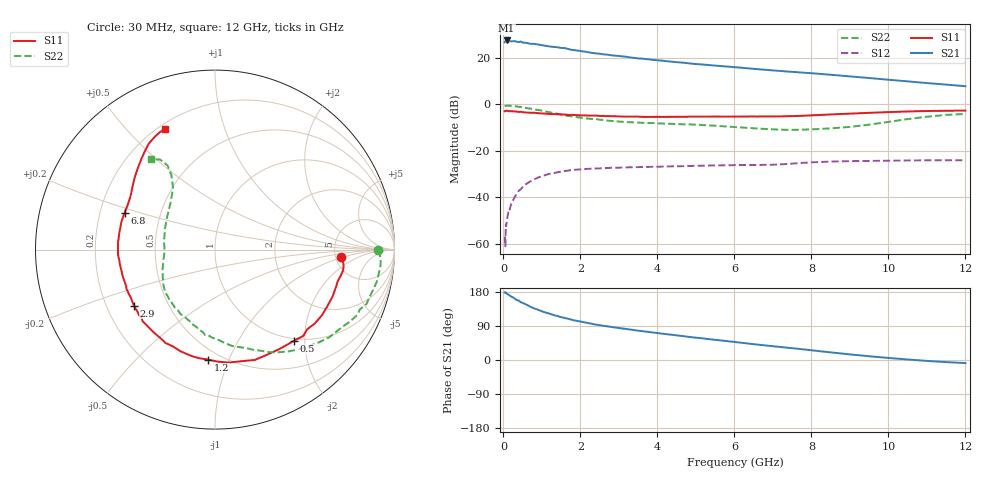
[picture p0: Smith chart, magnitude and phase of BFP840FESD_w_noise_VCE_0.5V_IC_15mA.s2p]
! Infineon Technologies  Discrete & RF Semiconductors
! BFP840FESD
! VCE =  0.5 V,  IC =  15 mA
! Common Emitter S-Parameters:  May 2012
# GHz  S  MA  R  50
!  f  S11  S21  S12  S22
! GHz  MAG  ANG  MAG  ANG  MAG  ANG  MAG  ANG
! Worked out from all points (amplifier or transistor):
!   103 points, 30 MHz to 12 GHz, reference 50 ohm
!   highest |S21| = 27.3 dB at 80 MHz (marker M1)
!   |S21| within 3 dB of that: start of sweep to 1.432 GHz
!   unconditionally stable (mu >= 1): start of sweep to 56.05 MHz; 5.564 GHz to end of sweep
!   at 400 MHz: K = 0.15, MSG = 31.9 dB, |S12| = -37.1 dB
!   at 3.7 GHz: K = 0.73, MSG = 23.1 dB, |S12| = -27.0 dB
!   at 12 GHz: K = 1.31, MAG = 12.6 dB, |S12| = -24.1 dB
!   lowest NFmin = 0.78 dB at 450 MHz
!   S11 on the Smith chart (normalised r, x): 30 MHz: 5.59, -0.90; 500 MHz: 0.95, -1.77; 1.2 GHz: 0.43, -0.85; 2.9 GHz: 0.32, -0.28; 6.8 GHz: 0.31, +0.18; 12 GHz: 0.23, +0.64
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0.03  0.7034 -3.3  21.25 178.0  0.0013 70.8  0.9086 -0.2
0.05  0.7146 -5.2  22.42 178.8  0.0009 101.7  0.9163 -1.5
0.08  0.7226 -8.5  23.23 175.9  0.0028 82.8  0.9245 -3.5
0.13  0.7064 -14.3  22.08 172.3  0.0051 82.8  0.9247 -6.9
0.3  0.6996 -31.2  22.46 161.5  0.0104 74.7  0.9012 -16.9
0.35  0.6921 -36.4  21.77 157.9  0.0122 74.2  0.8967 -19.8
0.4  0.6791 -40.8  21.45 156.7  0.0139 71.5  0.8728 -22.5
0.45  0.6877 -44.4  22.1 152.5  0.015 69.2  0.8733 -24.6
0.5  0.6717 -49.3  20.9 150.7  0.0167 69.3  0.8527 -27.9
0.8  0.6534 -70.2  19.65 136.2  0.0244 59.3  0.7766 -41.7
1.2  0.614 -93.4  17.29 122.2  0.0321 49.2  0.6709 -58.5
1.6  0.5979 -108.8  15.92 110.7  0.0368 40.9  0.5745 -72.6
1.8  0.5887 -117.9  14.49 105.4  0.0386 38.0  0.5458 -79.8
2.1  0.5731 -126.9  13.45 99.4  0.0406 34.0  0.4974 -89.0
2.4  0.5675 -135.1  12.26 93.3  0.0417 31.4  0.4802 -96.6
2.9  0.5497 -145.4  10.96 85.7  0.0432 27.5  0.4327 -107.7
4.1  0.5346 -165.3  8.587 69.8  0.0458 22.8  0.3852 -127.8
6.1  0.5411 168.2  6.12 46.4  0.0492 19.7  0.3194 -156.0
6.8  0.544 157.8  5.461 38.5  0.05 20.4  0.2942 -168.0
8.5  0.6014 138.1  4.273 20.1  0.0587 19.0  0.3023 157.5
10.5  0.6969 121.9  3.08 1.4  0.062 13.8  0.4787 120.4
12  0.7268 112.7  2.425 -8.1  0.0625 13.1  0.617 125.5
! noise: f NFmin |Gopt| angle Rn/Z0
0.45  0.78  0.16  5  0.11
0.9  0.8  0.16  11  0.13
1.5  0.81  0.15  19  0.13
1.9  0.82  0.14  28  0.14
2.4  0.82  0.13  40  0.14
3.5  0.84  0.13  65  0.13
5.5  0.89  0.09  134  0.11
8  0.99  0.11  -167  0.12
10  1.1  0.26  -121  0.14
12  1.31  0.42  -106  0.17
